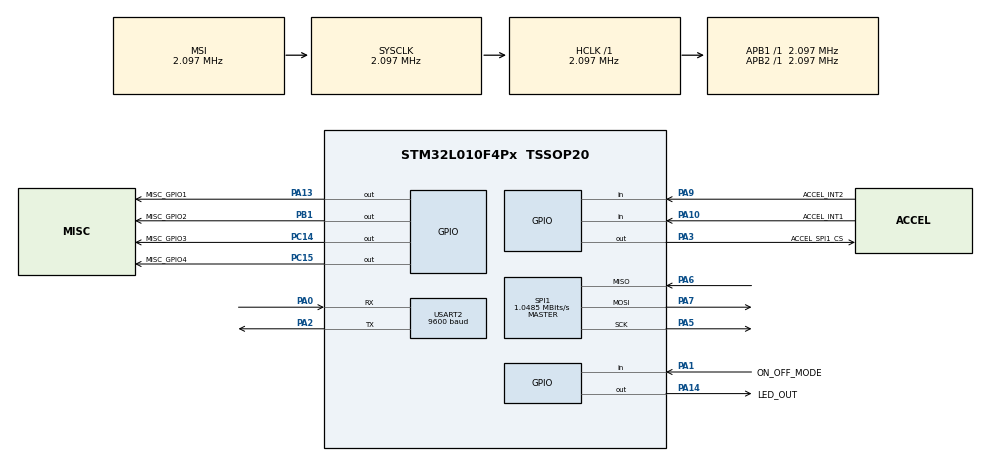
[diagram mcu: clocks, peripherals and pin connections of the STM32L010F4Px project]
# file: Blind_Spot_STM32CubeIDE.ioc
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Mcu.Family=STM32L0
Mcu.Name=STM32L010F4Px
Mcu.Package=TSSOP20
NVIC.USART2_IRQn=true\:0\:0\:false\:false\:true\:true\:true\:true
PA0-CK_IN.Mode=Asynchronous
PA0-CK_IN.Signal=USART2_RX
PA1.GPIO_Label=ON_OFF_MODE
PA1.GPIO_PuPd=GPIO_NOPULL
PA1.Signal=GPIO_Input
PA10.GPIO_Label=ACCEL_INT1
PA10.Signal=GPIO_Input
PA13.GPIO_Label=MISC_GPIO1
PA13.Signal=GPIO_Output
PA14.GPIO_Label=LED_OUT
PA14.GPIO_ModeDefaultOutputPP=GPIO_MODE_OUTPUT_PP
PA14.GPIO_PuPd=GPIO_PULLUP
PA14.Signal=GPIO_Output
PA2.Mode=Asynchronous
PA2.Signal=USART2_TX
PA3.GPIO_Label=ACCEL_SPI1_CS
PA3.Signal=GPIO_Output
PA5.Mode=Full_Duplex_Master
PA5.Signal=SPI1_SCK
PA6.Mode=Full_Duplex_Master
PA6.Signal=SPI1_MISO
PA7.Mode=Full_Duplex_Master
PA7.Signal=SPI1_MOSI
PA9.GPIO_Label=ACCEL_INT2
PA9.Signal=GPIO_Input
PB1.GPIO_Label=MISC_GPIO2
PB1.Signal=GPIO_Output
PC14-OSC32_IN.GPIO_Label=MISC_GPIO3
PC14-OSC32_IN.Signal=GPIO_Output
PC15-OSC32_OUT.GPIO_Label=MISC_GPIO4
PC15-OSC32_OUT.Signal=GPIO_Output
ProjectManager.HeapSize=0x200
ProjectManager.StackSize=0x400
ProjectManager.TargetToolchain=STM32CubeIDE
RCC.AHBFreq_Value=2097000
RCC.APB1Freq_Value=2097000
RCC.APB1TimFreq_Value=2097000
RCC.APB2Freq_Value=2097000
RCC.APB2TimFreq_Value=2097000
RCC.HSE_VALUE=8000000
RCC.HSI16_VALUE=16000000
RCC.HSI_VALUE=16000000
RCC.LSE_VALUE=32768
RCC.MSI_VALUE=2097000
RCC.SYSCLKFreq_VALUE=2097000
RCC.VCOOutputFreq_Value=48000000
SPI1.CalculateBaudRate=1.0485 MBits/s
SPI1.Direction=SPI_DIRECTION_2LINES
SPI1.Mode=SPI_MODE_MASTER
SPI1.VirtualType=VM_MASTER
USART2.BaudRate=9600
USART2.VirtualMode=VM_ASYNC
board=custom

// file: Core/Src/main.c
/* USER CODE BEGIN Header */
/**
  ******************************************************************************
  * @file           : main.c
  * @brief          : Main program body
  ******************************************************************************
  * @attention
  *
  * Copyright (c) 2022 STMicroelectronics.
  * All rights reserved.
  *
  * This software is licensed under terms that can be found in the LICENSE file
  * in the root directory of this software component.
  * If no LICENSE file comes with this software, it is provided AS-IS.
  *
  ******************************************************************************
  */
/* USER CODE END Header */
#include "main.h"

SPI_HandleTypeDef hspi1;

UART_HandleTypeDef huart2;

/* USER CODE BEGIN PV */
char hex_str[9];
uint8_t rx_buffer[9] = {0}; // Receive buffer
const int RX_BUFFER_SIZE = 9;
extern uint16_t rx_index;
extern uint8_t flag_uart_data_received;
uint8_t start_byte_detected = 0;

//----------Beginning of LiDAR commands----------
//uint8_t getVersionCMD[] = {0x5A, 0x04, 0x01, 0x00}; //Get version (0x01)
uint8_t softResetCMD[] = {0x5A, 0x04, 0x02, 0x00}; //Soft reset (0x02)
uint8_t sampleFreq0HzCMD[] = {0x5A, 0x06, 0x03, 0x00, 0x00, 0x00}; //Sample frequency 0Hz (0x03)
uint8_t sampleFreq10HzCMD[] = {0x5A, 0x06, 0x03, 0x0A, 0x00, 0x00}; //Sample frequency 10Hz (0x03)
//uint8_t sampleFreq250HzCMD[] = {0x5A, 0x06, 0x03, 0xFA, 0x00, 0x00}; //Sample frequency 250Hz (0x03)
uint8_t sampleTriggerCMD[] = {0x5A, 0x04, 0x04, 0x00}; //Sample trigger (0x04)
uint8_t outForm9B_cmCMD[] = {0x5A, 0x05, 0x05, 0x01, 0x00}; //Output format 9-byte/cm (0x05)
uint8_t outForm8B_cmCMD[] = {0x5A, 0x05, 0x05, 0x09, 0x00}; //Output format 8-byte/cm (0x05)
uint8_t baud9600CMD[] = {0x5A, 0x08, 0x06, 0x80, 0x25, 0x00, 0x00, 0x00}; //Baud rate 115200 (0x06)
//uint8_t baud19200CMD[] = {0x5A, 0x08, 0x06, 0x00, 0x4B, 0x00, 0x00, 0x00}; //Baud rate 115200 (0x06)
//uint8_t baud38400CMD[] = {0x5A, 0x08, 0x06, 0x00, 0x96, 0x00, 0x00, 0x00}; //Baud rate 115200 (0x06)
//uint8_t baud57600CMD[] = {0x5A, 0x08, 0x06, 0x00, 0xE1, 0x00, 0x00, 0x00}; //Baud rate 115200 (0x06)
uint8_t baud115200CMD[] = {0x5A, 0x08, 0x06, 0x00, 0xC2, 0x01, 0x00, 0x00}; //Baud rate 115200 (0x06)
//uint8_t outputEnableCMD[] = {0x5A, 0x05, 0x07, 0x01, 0x00}; //Output enable (0x07)
//uint8_t outputDisableCMD[] = {0x5A, 0x05, 0x07, 0x00, 0x00}; //Output disable (0x07)
//uint8_t checksumEnableCMD[] = {0x5A, 0x05, 0x08, 0x01, 0x00}; //Enable checksum comparison (0x08)
//uint8_t checksumDisableCMD[] = {0x5A, 0x05, 0x08, 0x00, 0x67}; //Disable checksum comparison (0x08)
//uint8_t resDefSetCMD[] = {0x5A, 0x04, 0x10, 0x00}; //Restore default settings (0x10)
uint8_t saveSettingsCMD[] = {0x5A, 0x04, 0x11, 0x00}; //Save current settings (0x11)
//uint8_t barcodeCMD[] = {0x5A, 0x04, 0x12, 0x00}; //Output product barcode (0x12)
//uint8_t getFullVersionCMD[] = {0x5A, 0x04, 0x14, 0x00}; //Get full version (0x14)
uint8_t powerSavingEN1HzCMD[] = {0x5A, 0x06, 0x35, 0x01, 0x00, 0x00}; //Enable power saving mode and measure at 1Hz (0x35)
uint8_t powerSavingEN10HzCMD[] = {0x5A, 0x06, 0x35, 0x0A, 0x00, 0x00}; //Enable power saving mode and measure at 10Hz (0x35)
uint8_t ultraLowPwrModeEnableCMD[] = {0x5A, 0x05, 0x58, 0x01, 0x00}; //Enable ultra low power mode (0x58)
uint8_t ultraLowPwrModeDisableCMD[] = {0x5A, 0x05, 0x58, 0x00, 0x00}; //Disable ultra low power mode - Send 5 times repeatedly (0x58)
//----------End of LiDAR commands----------

/* USER CODE END PV */

void SystemClock_Config(void);
static void MX_GPIO_Init(void);
static void MX_SPI1_Init(void);
static void MX_USART2_UART_Init(void);
/* USER CODE BEGIN PFP */
void HAL_UART_RxCpltCallback(UART_HandleTypeDef *huart);
void HAL_UART_TxCpltCallback(UART_HandleTypeDef *huart);
void lidar_init();
void data_to_hex_str(uint8_t *data, uint8_t data_len, char *hex_str);
/* USER CODE END PFP */

int main(void)
{

  /* MCU Configuration--------------------------------------------------------*/

  /* Reset of all peripherals, Initializes the Flash interface and the Systick. */
  HAL_Init();

  /* Configure the system clock */
  SystemClock_Config();

  /* Initialize all configured peripherals */
  MX_GPIO_Init();
  MX_SPI1_Init();
  MX_USART2_UART_Init();
  /* USER CODE BEGIN 2 */

  HAL_NVIC_SetPriority(USART2_IRQn, 0, 0);
  HAL_NVIC_EnableIRQ(USART2_IRQn);
   __HAL_UART_ENABLE_IT(&huart2, UART_IT_RXNE);

  lidar_init();
  HAL_Delay(1000);
  /* USER CODE END 2 */

  /* Infinite loop */
  while (1)
  {

    /* USER CODE BEGIN 3 */
	if(start_byte_detected == 0){
//		  memset(rx_buffer, 0, RX_BUFFER_SIZE); // Reset the rx_buffer with 0s
		  HAL_UART_Receive(&huart2, (uint8_t*)&rx_buffer[0], 1, 1000); // Receive a single byte in blocking

		  char msg[] = "\n\rChecking byte: ";
		  HAL_UART_Transmit(&huart2, (uint8_t*)msg, strlen(msg), HAL_MAX_DELAY);

		  // Send the byte to serial terminal
		  HAL_UART_Transmit(&huart2, (uint8_t*)&rx_buffer[0], sizeof(rx_buffer[0]), HAL_MAX_DELAY);

		  // Send the entire rx_buffer to serial terminal
		  data_to_hex_str(rx_buffer, sizeof(rx_buffer), hex_str);
		  HAL_UART_Transmit(&huart2, (uint8_t*)hex_str, 2 * RX_BUFFER_SIZE, 100);

		  // Checks if the byte received is 0x59
		  if(rx_buffer[0] == 0x59){
				  // Turn on LED for a second
				  HAL_GPIO_WritePin(LED_OUT_GPIO_Port, LED_OUT_Pin, GPIO_PIN_SET);
				  HAL_Delay(1000);
				  HAL_GPIO_WritePin(LED_OUT_GPIO_Port, LED_OUT_Pin, GPIO_PIN_RESET);
				  start_byte_detected = 1; // Set the flag for start byte being found
			  }
	  } else {
		  // Receive the remaining 8 bytes
		  for(int i = 1; i < RX_BUFFER_SIZE; i++){
				  HAL_UART_Receive(&huart2, &rx_buffer[i], 1, 100);
			  }

		  // Send the rx_buffer to serial terminal
		  char msg0[] = "\n\rReceived: ";
		  HAL_UART_Transmit(&huart2, (uint8_t*)msg0, strlen(msg0), HAL_MAX_DELAY);
		  data_to_hex_str(rx_buffer, RX_BUFFER_SIZE, hex_str);
		  HAL_UART_Transmit(&huart2, (uint8_t*)hex_str, strlen(hex_str), 100);
		  HAL_Delay(500);
		  start_byte_detected = 0;
	  }
  }
  /* USER CODE END 3 */
}

void SystemClock_Config(void)
{
  RCC_OscInitTypeDef RCC_OscInitStruct = {0};
  RCC_ClkInitTypeDef RCC_ClkInitStruct = {0};
  RCC_PeriphCLKInitTypeDef PeriphClkInit = {0};

  /** Configure the main internal regulator output voltage
  */
  __HAL_PWR_VOLTAGESCALING_CONFIG(PWR_REGULATOR_VOLTAGE_SCALE1);

  /** Initializes the RCC Oscillators according to the specified parameters
  * in the RCC_OscInitTypeDef structure.
  */
  RCC_OscInitStruct.OscillatorType = RCC_OSCILLATORTYPE_MSI;
  RCC_OscInitStruct.MSIState = RCC_MSI_ON;
  RCC_OscInitStruct.MSICalibrationValue = 0;
  RCC_OscInitStruct.MSIClockRange = RCC_MSIRANGE_5;
  RCC_OscInitStruct.PLL.PLLState = RCC_PLL_NONE;
  if (HAL_RCC_OscConfig(&RCC_OscInitStruct) != HAL_OK)
  {
    Error_Handler();
  }

  /** Initializes the CPU, AHB and APB buses clocks
  */
  RCC_ClkInitStruct.ClockType = RCC_CLOCKTYPE_HCLK|RCC_CLOCKTYPE_SYSCLK
                              |RCC_CLOCKTYPE_PCLK1|RCC_CLOCKTYPE_PCLK2;
  RCC_ClkInitStruct.SYSCLKSource = RCC_SYSCLKSOURCE_MSI;
  RCC_ClkInitStruct.AHBCLKDivider = RCC_SYSCLK_DIV1;
  RCC_ClkInitStruct.APB1CLKDivider = RCC_HCLK_DIV1;
  RCC_ClkInitStruct.APB2CLKDivider = RCC_HCLK_DIV1;

  if (HAL_RCC_ClockConfig(&RCC_ClkInitStruct, FLASH_LATENCY_0) != HAL_OK)
  {
    Error_Handler();
  }
  PeriphClkInit.PeriphClockSelection = RCC_PERIPHCLK_USART2;
  PeriphClkInit.Usart2ClockSelection = RCC_USART2CLKSOURCE_PCLK1;
  if (HAL_RCCEx_PeriphCLKConfig(&PeriphClkInit) != HAL_OK)
  {
    Error_Handler();
  }
}

static void MX_SPI1_Init(void)
{

  /* SPI1 parameter configuration*/
  hspi1.Instance = SPI1;
  hspi1.Init.Mode = SPI_MODE_MASTER;
  hspi1.Init.Direction = SPI_DIRECTION_2LINES;
  hspi1.Init.DataSize = SPI_DATASIZE_8BIT;
  hspi1.Init.CLKPolarity = SPI_POLARITY_LOW;
  hspi1.Init.CLKPhase = SPI_PHASE_1EDGE;
  hspi1.Init.NSS = SPI_NSS_SOFT;
  hspi1.Init.BaudRatePrescaler = SPI_BAUDRATEPRESCALER_2;
  hspi1.Init.FirstBit = SPI_FIRSTBIT_MSB;
  hspi1.Init.TIMode = SPI_TIMODE_DISABLE;
  hspi1.Init.CRCCalculation = SPI_CRCCALCULATION_DISABLE;
  hspi1.Init.CRCPolynomial = 7;
  if (HAL_SPI_Init(&hspi1) != HAL_OK)
  {
    Error_Handler();
  }

}

static void MX_USART2_UART_Init(void)
{

  huart2.Instance = USART2;
  huart2.Init.BaudRate = 9600;
  huart2.Init.WordLength = UART_WORDLENGTH_8B;
  huart2.Init.StopBits = UART_STOPBITS_1;
  huart2.Init.Parity = UART_PARITY_NONE;
  huart2.Init.Mode = UART_MODE_TX_RX;
  huart2.Init.HwFlowCtl = UART_HWCONTROL_NONE;
  huart2.Init.OverSampling = UART_OVERSAMPLING_16;
  huart2.Init.OneBitSampling = UART_ONE_BIT_SAMPLE_DISABLE;
  huart2.AdvancedInit.AdvFeatureInit = UART_ADVFEATURE_NO_INIT;
  if (HAL_UART_Init(&huart2) != HAL_OK)
  {
    Error_Handler();
  }

}

static void MX_GPIO_Init(void)
{
  GPIO_InitTypeDef GPIO_InitStruct = {0};

  /* GPIO Ports Clock Enable */
  __HAL_RCC_GPIOC_CLK_ENABLE();
  __HAL_RCC_GPIOA_CLK_ENABLE();
  __HAL_RCC_GPIOB_CLK_ENABLE();

  /*Configure GPIO pin Output Level */
  HAL_GPIO_WritePin(GPIOC, MISC_GPIO3_Pin|MISC_GPIO4_Pin, GPIO_PIN_RESET);

  /*Configure GPIO pin Output Level */
  HAL_GPIO_WritePin(GPIOA, ACCEL_SPI1_CS_Pin|MISC_GPIO1_Pin|LED_OUT_Pin, GPIO_PIN_RESET);

  /*Configure GPIO pin Output Level */
  HAL_GPIO_WritePin(MISC_GPIO2_GPIO_Port, MISC_GPIO2_Pin, GPIO_PIN_RESET);

  /*Configure GPIO pins : MISC_GPIO3_Pin MISC_GPIO4_Pin */
  GPIO_InitStruct.Pin = MISC_GPIO3_Pin|MISC_GPIO4_Pin;
  GPIO_InitStruct.Mode = GPIO_MODE_OUTPUT_PP;
  GPIO_InitStruct.Pull = GPIO_NOPULL;
  GPIO_InitStruct.Speed = GPIO_SPEED_FREQ_LOW;
  HAL_GPIO_Init(GPIOC, &GPIO_InitStruct);

  /*Configure GPIO pins : ON_OFF_MODE_Pin ACCEL_INT2_Pin ACCEL_INT1_Pin */
  GPIO_InitStruct.Pin = ON_OFF_MODE_Pin|ACCEL_INT2_Pin|ACCEL_INT1_Pin;
  GPIO_InitStruct.Mode = GPIO_MODE_INPUT;
  GPIO_InitStruct.Pull = GPIO_NOPULL;
  HAL_GPIO_Init(GPIOA, &GPIO_InitStruct);

  /*Configure GPIO pins : ACCEL_SPI1_CS_Pin MISC_GPIO1_Pin */
  GPIO_InitStruct.Pin = ACCEL_SPI1_CS_Pin|MISC_GPIO1_Pin;
  GPIO_InitStruct.Mode = GPIO_MODE_OUTPUT_PP;
  GPIO_InitStruct.Pull = GPIO_NOPULL;
  GPIO_InitStruct.Speed = GPIO_SPEED_FREQ_LOW;
  HAL_GPIO_Init(GPIOA, &GPIO_InitStruct);

  /*Configure GPIO pin : MISC_GPIO2_Pin */
  GPIO_InitStruct.Pin = MISC_GPIO2_Pin;
  GPIO_InitStruct.Mode = GPIO_MODE_OUTPUT_PP;
  GPIO_InitStruct.Pull = GPIO_NOPULL;
  GPIO_InitStruct.Speed = GPIO_SPEED_FREQ_LOW;
  HAL_GPIO_Init(MISC_GPIO2_GPIO_Port, &GPIO_InitStruct);

  /*Configure GPIO pin : LED_OUT_Pin */
  GPIO_InitStruct.Pin = LED_OUT_Pin;
  GPIO_InitStruct.Mode = GPIO_MODE_OUTPUT_PP;
  GPIO_InitStruct.Pull = GPIO_PULLUP;
  GPIO_InitStruct.Speed = GPIO_SPEED_FREQ_LOW;
  HAL_GPIO_Init(LED_OUT_GPIO_Port, &GPIO_InitStruct);

}

/* USER CODE BEGIN 4 */
void data_to_hex_str(uint8_t *data, uint8_t data_len, char *hex_str)
{
    for (int i = 0; i < data_len; i++)
    {
        hex_str[2 * i]     = data[i] >> 4;
        hex_str[2 * i + 1] = data[i] & 0x0f;
        hex_str[2 * i]     += hex_str[2 * i] > 9 ? 'A' - 10 : '0';
        hex_str[2 * i + 1] += hex_str[2 * i + 1] > 9 ? 'A' - 10 : '0';
    }
    hex_str[2 * data_len] = '\0';
}

void lidar_init(){
	//Send soft reset command
	HAL_Delay(10000);
	HAL_UART_Transmit(&huart2, softResetCMD, sizeof(softResetCMD), 100);
	HAL_UART_Receive(&huart2, rx_buffer, 5, 3000);

	// Send message
	char msg1[] = "\n\rChecking return: ";
	HAL_UART_Transmit(&huart2, (uint8_t*)msg1, strlen(msg1), HAL_MAX_DELAY);

	// Send rx_buffer
	HAL_UART_Transmit(&huart2, (uint8_t*)rx_buffer, sizeof(rx_buffer), 100);
	HAL_Delay(500);

	// Send a 1
	HAL_UART_Transmit(&huart2, (uint8_t*)"1", 1, HAL_MAX_DELAY);

	HAL_UART_Transmit(&huart2, baud9600CMD, sizeof(baud9600CMD), 100);
	HAL_Delay(500);

	//Send sample at 0Hz command
	HAL_UART_Transmit(&huart2, sampleFreq10HzCMD, sizeof(sampleFreq10HzCMD), 100);
	HAL_Delay(500);

	//Send output format 9-byte/cm
	HAL_UART_Transmit(&huart2, outForm9B_cmCMD, sizeof(outForm9B_cmCMD), 100);
	HAL_Delay(500);

	// Save
	HAL_UART_Transmit(&huart2, saveSettingsCMD, sizeof(saveSettingsCMD), 100);
	HAL_Delay(500);

}

void HAL_UART_RxCpltCallback(UART_HandleTypeDef *huart) {
	if(huart->Instance == huart2.Instance){
		HAL_Delay(100);
	}
}

void HAL_UART_TxCpltCallback(UART_HandleTypeDef *huart) {
	HAL_UART_Receive_IT(&huart2, rx_buffer, RX_BUFFER_SIZE);
	char msg[] = "Sent___\r\n";
	if(huart->Instance == huart2.Instance){
		HAL_UART_Transmit(&huart2, (uint8_t*)msg, 9, HAL_MAX_DELAY);
	}
}
/* USER CODE END 4 */

void Error_Handler(void)
{
  __disable_irq();
  while (1)
  {
  }
}
